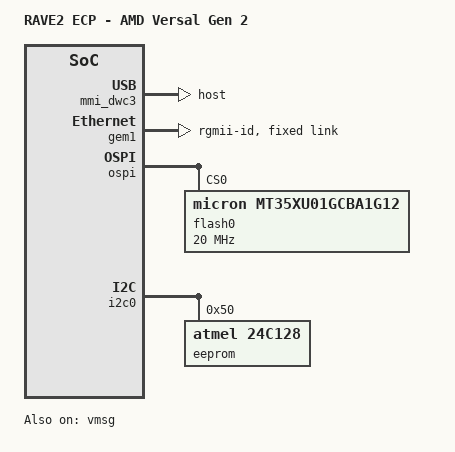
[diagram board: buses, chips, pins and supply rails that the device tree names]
// Copyright © Advanced Micro Devices, Inc., or its affiliates. All rights reserved.
// Copyright (C) 2015-2024 Texas Instruments Incorporated - https://www.ti.com/
// Modifications Copyright(C) 2026 Advanced Micro Devices, Inc. All rights reserved.
// SPDX-FileCopyrightText: 2026 Advanced Micro Devices, Inc.
// SPDX-License-Identifier: MIT AND BSD-2-Clause AND GPL-2.0-only
// Contributors: LT
// Maintainer: LT
// DP83867 constants copied from Linux include/dt-bindings/net/ti-dp83867.h
// (GPL-2.0-only OR MIT); MIT selected. GPIO_ACTIVE_LOW copied from
// include/dt-bindings/gpio/gpio.h (GPL-2.0 OR BSD-2-Clause); BSD-2-Clause selected.
#define DP83867_RGMIIDCTL_250_PS        0x0
#define DP83867_RGMIIDCTL_500_PS        0x1
#define DP83867_RGMIIDCTL_750_PS        0x2
#define DP83867_RGMIIDCTL_1_NS          0x3
#define DP83867_RGMIIDCTL_1_25_NS       0x4
#define DP83867_RGMIIDCTL_1_50_NS       0x5
#define DP83867_RGMIIDCTL_1_75_NS       0x6
#define DP83867_RGMIIDCTL_2_00_NS       0x7
#define DP83867_RGMIIDCTL_2_25_NS       0x8
#define DP83867_RGMIIDCTL_2_50_NS       0x9
#define DP83867_RGMIIDCTL_2_75_NS       0xa
#define DP83867_RGMIIDCTL_3_00_NS       0xb
#define DP83867_RGMIIDCTL_3_25_NS       0xc
#define DP83867_RGMIIDCTL_3_50_NS       0xd
#define DP83867_RGMIIDCTL_3_75_NS       0xe
#define DP83867_RGMIIDCTL_4_00_NS       0xf

#define   DP83867_PHYCR_FIFO_DEPTH_4_B_NIB  0x01
#define   GPIO_ACTIVE_LOW 1



/ {
	model = "RAVE2 ECP - AMD Versal Gen 2";
	compatible = "amd,versal2";
	chosen {
		stdout-path = "serial0:115200n8";
		bootargs = "earlycon=pl011,mmio32,0xf1920000 console=ttyAMA0,115200";
		xen_bootargs = "console=dtuart dtuart=serial0 dom0_mem=1000M dom0_max_vcpus=1 bootscrub=0 vwfi=native";
		dom0_bootargs = "console=hvc0 earlycon=xen earlyprintk=xen clk_ignore_unused";
	};

	reserved-memory {
		#address-cells = <0x2>;
		#size-cells = <0x2>;
		ranges;

		/delete-node/ cma_reserved@800000000;
		// Used to reserve memory for VCU
		shared_dma_reserved: shared_dma_mem_region {
			compatible = "shared-dma-pool";
			reg = <0x8 0x0 0x1 0x40000000>;
			linux,cma-default;
			reusable;
		};

		//npu_dma_reserved: npup_dma_mem_region {
		//	compatible = "shared-dma-pool";
		//	size = <0x0 0x60000000>;
		//	alloc-ranges = <0x500 0x0 0x0 0x80000000>;
		//	no-map;
		//};

		/* ISP mem reservations - 320MB */
		rpu6_fw: rproc6@0c000000 {
			no-map;
			reg = <0x00 0xc000000 0x00 0x3800000>;
		};
		rproc_D_0_6_calib_load: rpu6_calib_load {
			no-map;
			reg = <0x0  0xF800000 0x0 0x28000>;
		};
		rproc_D_0_6_hal_mem_priv: rpu6_hal_mem_priv {
			no-map;
			reg = <0x0 0xF828000 0x0 0x01001000>;
		};

		rpu7_fw: rproc7@1082A000 {
			no-map;
			reg = <0x00 0x1082A000 0x00 0x3800000>;
		};
		rproc_D_1_7_calib_load: rpu7_calib_load {
			no-map;
			reg = <0x0 0x1402A000 0x0 0x28000>;
		};
		rproc_D_1_7_hal_mem_priv: rpu7_hal_mem_priv {
			no-map;
			reg = <0x0 0x14052000 0x0 0x01001000>;
		};

		rpu8_fw: rproc8@15054000 {
			no-map;
			reg = <0x00 0x15054000 0x00 0x3800000>;
		};
		rproc_E_0_8_calib_load: rpu8_calib_load {
			no-map;
			reg = <0x0 0x18854000 0x0 0x28000>;
		};
		rproc_E_0_8_hal_mem_priv: rpu8_hal_mem_priv {
			no-map;
			reg = <0x0 0x1887C000 0x0 0x01001000>;
		};

		isp_mbox_buffer: isp_mbox_buffer@1E0A8000 {
			no-map;
			reg = <0x00 0x1E0A8000 0x00 0x400000>;
		};
		rpu_shared_mem: rpu_shared_mem@1E4A8000 {
			no-map;
			reg = <0x0 0x1E4A8000 0x0 0x40000>;
		};
		isp_vring: vring@1fff7000 {
			no-map;
			reg = <0x00 0x1fff7000 0x00 0x8000>;
		};

		tcm_rpu6: rpu6_tcm {
			no-map;
			reg = <0x00 0xebb80000 0x00 0x30000>;
		};
		tcm_rpu7: rpu7_tcm {
			no-map;
			reg = <0x00 0xebbc0000 0x00 0x30000>;
		};
		tcm_rpu8: rpu8_tcm {
			no-map;
			reg = <0x00 0xebc00000 0x00 0x30000>;
		};


	};

	/* OpenAMP: Linux loads the Zephyr firmware onto R52_2 (Cluster B core 0, TCM 0xeba80000) */
	remoteproc@eba80000 {
		compatible = "xlnx,versal-net-r52fss";
		#address-cells = <0x2>;
		#size-cells = <0x2>;
		xlnx,cluster-mode = <0x0>;
		ranges = <0x0 0x0 0x0 0xeba80000 0x0 0x10000 0x0 0x10000 0x0 0xeba90000 0x0 0x8000 0x0 0x18000 0x0 0xebaa0000 0x0 0x8000>;

		r52f@0 {
			compatible = "xlnx,versal2-r52f";
			/* PM_DEV_RPU_B_0, PM_DEV_TCM_B_0A/0B/0C */
			power-domains = <&versal2_firmware 0x181100c1>,
				<&versal2_firmware 0x183180d1>,
				<&versal2_firmware 0x183180d2>,
				<&versal2_firmware 0x183180d3>;
			reg = <0x0 0x0 0x0 0x10000 0x0 0x10000 0x0 0x8000 0x0 0x18000 0x0 0x8000>;
			reg-names = "r52_0b_atcm_global@eba80000", "r52_0b_btcm_global@eba90000", "r52_0b_ctcm_global@ebaa0000";
			/* rsctbl must be first: the driver reads the resource-table pointer from entry 0 */
			memory-region = <&rsctbl>, <&vdev0buffer>, <&vdev0vring0>, <&vdev0vring1>, <&ddrboot>;
			mboxes = <&ipi_2_nobuf_to_ipi_1_nobuf 0x0>, <&ipi_2_nobuf_to_ipi_1_nobuf 0x1>;
			mbox-names = "tx", "rx";
		};
	};

	/* Add remoteproc nodes required for loading isp firmware */
	remoteproc@ebb80000 {
		compatible = "xlnx,versal-net-r52fss";
		#address-cells = <0x02>;
		#size-cells = <0x02>;
		xlnx,cluster-mode = <0x00>;
		ranges = <0x00 0x00 0x00 0xebb80000 0x00 0x10000 0x00 0x10000 0x00 0xebb90000 0x00 0x8000 0x00 0x18000 0x00 0xebba0000 0x00 0x8000 0x01 0x00 0x00 0xebbc0000 0x00 0x10000 0x01 0x10000 0x00 0xebbd0000 0x00 0x8000 0x01 0x18000 0x00 0xebbe0000 0x00 0x8000>;

		rpu6_core: r52f@0 {
			compatible = "xlnx,versal2-r52f";
			power-domains = <&versal2_firmware 0x181100f3 &versal2_firmware 0x18318106 &versal2_firmware 0x18318107 &versal2_firmware 0x18318108>;
			reg = <0x00 0x00 0x00 0x10000 0x00 0x10000 0x00 0x8000 0x00 0x18000 0x00 0x8000>;
			reg-names = "r52_0a_atcm_global@eba00000\0r52_0a_btcm_global@eba10000\0r52_0a_ctcm_global@eba20000";
			memory-region = <&rpu6_fw>;
		};
		rpu7_core: r52f@1 {
			compatible = "xlnx,versal2-r52f";
			power-domains = <&versal2_firmware 0x181100f4 &versal2_firmware 0x18318109 &versal2_firmware 0x1831810a &versal2_firmware 0x1831810b>;
			reg = <0x01 0x00 0x00 0x10000 0x01 0x10000 0x00 0x8000 0x01 0x18000 0x00 0x8000>;
			reg-names = "r52_0a_atcm_global@eba00000\0r52_0a_btcm_global@eba10000\0r52_0a_ctcm_global@eba20000";
			memory-region = <&rpu7_fw>;
		};
	};

	remoteproc@ebc00000 {
		compatible = "xlnx,versal-net-r52fss";
		#address-cells = <0x02>;
		#size-cells = <0x02>;
		xlnx,cluster-mode = <0x00>;
		ranges = <0x00 0x00 0x00 0xebc00000 0x00 0x10000 0x00 0x10000 0x00 0xebc10000 0x00 0x8000 0x00 0x18000 0x00 0xebc20000 0x00 0x8000 0x01 0x00 0x00 0xebc40000 0x00 0x10000 0x01 0x10000 0x00 0xebc50000 0x00 0x8000 0x01 0x18000 0x00 0xebc60000 0x00 0x8000>;

		rpu8_core: r52f@0 {
			compatible = "xlnx,versal2-r52f";
			power-domains = <&versal2_firmware 0x181100f5 &versal2_firmware 0x1831810c &versal2_firmware 0x1831810d &versal2_firmware 0x1831810e>;
			reg = <0x00 0x00 0x00 0x10000 0x00 0x10000 0x00 0x8000 0x00 0x18000 0x00 0x8000>;
			reg-names = "r52_0a_atcm_global@eba00000\0r52_0a_btcm_global@eba10000\0r52_0a_ctcm_global@eba20000";
			memory-region = <&rpu8_fw>;
		};

		/*r52f@1 {
			compatible = "xlnx,versal2-r52f";
			power-domains = <&versal2_firmware 0x181100f6 &versal2_firmware 0x1831810f &versal2_firmware 0x18318110 &versal2_firmware 0x18318111>;
			reg = <0x01 0x00 0x00 0x10000 0x01 0x10000 0x00 0x8000 0x01 0x18000 0x00 0x8000>;
			reg-names = "r52_0a_atcm_global@eba00000\0r52_0a_btcm_global@eba10000\0r52_0a_ctcm_global@eba20000";
			memory-region = <&rpu9_fw>;
		};*/
	};
	aliases {
		spi0 = "/axi/spi@f1010000";
		nvmem0 = &eeprom;
	};

	/* Cortex-A78AE PMUv3. The SDT does not emit this node, without it the
	 * kernel registers no PMU and perf/gatord/Streamline get no CPU counters.
	 * PMU overflow IRQ is PPI 7 (INTID 23). */
	pmu {
		compatible = "arm,armv8-pmuv3";
		interrupts = <0x1 0x7 0x4>;
	};

};

&amba_pl {
	telluride_drm {
		compatible = "xlnx,aiarm";
	};
	ml_pre_process: ml-pre-process@b0050000 {
		compatible = "xlnx,ml-pre-process-v2";
		reg = <0x0 0xb0070000 0x0 0x00010000>,
		      <0x0 0xb0050000 0x0 0x00010000>,
		      <0x0 0xb0090000 0x0 0x00010000>,
		      <0x0 0xb0080000 0x0 0x00010000>;
		reg-names = "fvc_rd", "fvc_wr","svc_rd", "svc_wr";
		interrupts = <3 0>,<4 0>,<9 0>,<10 0>;
		interrupt-names = "fvc_rd","fvc_wr","svc_rd","svc_wr";
		interrupt-parent = <&axi_intc_0>;
	};
};

&gpio0 {
	/* PLM owns PS MIO3 for PCIe PERST recovery. */
	status = "disabled";
};

/* canfd_1/canfd_3 are owned by RPU_4 (libmetal/CANFD domain), not Linux. */
&can1 {
        status = "disabled";
};

&can3 {
        status = "disabled";
};

/* serial1 is the shared RPU debug console: used by both RPU_2_Zephyr
 * (OpenAMP) and RPU_4_BM (libmetal/CANFD, baremetal) -- libmetal/RPU_4 is
 * tested first, so this UART is exercised there before RPU_2. */
&serial1 {
        status = "disabled";
};

/* rpmsg vdev needs a shared-dma-pool, else remoteproc start fails with -EINVAL */
&vdev0buffer {
	compatible = "shared-dma-pool";
};

&mmi_dwc3 {
        dr_mode = "host";
        maximum-speed = "super-speed-plus";
        dma-coherent;
        snps,dis_u2_susphy_quirk;
        snps,dis_u3_susphy_quirk;
        snps,usb3_lpm_capable;
};


&gem1 { /* PMC_MIO_48, LPD_MIO0-11/24/25 */
 /*       phy-handle = <&phy1>; */
        phy-mode = "rgmii-id";
 /* MDIO doesnt work from ospi - so fixed link for now */
 /*       mdio: mdio { */
 /*               #address-cells = <1>; */
 /*               #size-cells = <0>; */
 /*               phy1: ethernet-phy@0 {  */
 /*                       #phy-cells = <1>; */
 /*                       compatible = "ethernet-phy-id2000.a231"; */
 /*                       reg = <0>; */
 /*                       ti,rx-internal-delay = <DP83867_RGMIIDCTL_3_00_NS>; */
 /*                       ti,tx-internal-delay = <DP83867_RGMIIDCTL_2_75_NS>; */
 /*                       ti,fifo-depth = <1>; */
 /*                       ti,dp83867-rxctrl-strap-quirk; */
 /*                       reset-assert-us = <100>; */
 /*                       reset-deassert-us = <280>; */
 /*                       reset-gpios = <&gpio0 25 GPIO_ACTIVE_LOW>; */
 /*               }; */
 /*        }; */
        fixed-link { 
                pause; 
                full-duplex; 
                speed = <1000>; 
        };
};

&mmi_10gbe { /* 10GbE direct to switch, no PHY */
        phy-mode = "10gbase-r";
        fixed-link {
                speed = <10000>;
                full-duplex;
        };
};


&ospi { /* PMC_MIO0-10, MIO12 */
        reset-names = "qspi";
        #address-cells = <1>;
        #size-cells = <0>;

	flash0: flash@0 {
		compatible = "micron,mt35xu01gcba1g12", "micron,mt35xu01g", "jedec,spi-nor";
		reg = <0>;
		spi-tx-bus-width = <8>;
		spi-rx-bus-width = <8>;
		spi-max-frequency = <20000000>;
		no-wp;
		spi-nor,octal-dtr-enable;
		boot,primary;
	};
};

&i2c0 {
        eeprom: eeprom@50 {
                compatible = "atmel,24c128";
                bootph-all;
                reg = <0x50>;
        };
};

/*
TTC timer nodes (timer@f1ea0000 to timer@f1ed0000) in the PS device tree causing conflict with
the RPU firmware execution during Linux boot.So disabling them to ensures successful RPU log prints
*/
&ttc4 {
	status = "disabled";
};

&ttc5 {
	status = "disabled";
};

&ttc6 {
	status = "disabled";
};

&ttc7 {
	status = "disabled";
};

&vcap_hier_mipi_0_mipi_csi2_rx_subsyst_0 {
	status = "disabled";
};
&vcap_hier_mipi_1_mipi_csi2_rx_subsyst_0 {
	status = "disabled";
};
&vcap_hier_mipi_2_mipi_csi2_rx_subsyst_0 {
	status = "disabled";
};

// ISP support for rproc
&visp_mbox_rpu_6  {
	memory-region = <&isp_mbox_buffer>;
	rproc = <&rpu6_core>;
};

&visp_mbox_rpu_7  {
	memory-region = <&isp_mbox_buffer>;
	rproc = <&rpu7_core>;
};

&visp_mbox_rpu_8  {
	memory-region = <&isp_mbox_buffer>;
	rproc = <&rpu8_core>;
};

&visp_ss_00  {
	memory-region = <&rproc_D_0_6_calib_load>;
	xlnx,name = "visp_ss_00";
	xlnx,rpu = <0x6>;
};

&visp_ss_12  {
	memory-region = <&rproc_D_1_7_calib_load>;
	xlnx,name = "visp_ss_12";
	xlnx,rpu = <0x7>;
};

&visp_ss_24  {
	memory-region = <&rproc_E_0_8_calib_load>;
	xlnx,name = "visp_ss_24";
	xlnx,rpu = <0x8>;
};

// ================================================================
// VCU -- fix interrupts (something funky with SDT mapping)
// ================================================================
&encoder {
	interrupts = <0x8 0x2 0x4>;
};
&decoder {
	interrupts = <0x7 0x2 0x4>;
};

// AI Engine aperture: fix power-domains phandle (SDT generates wrong reference)
// and override interrupt mapping
//&aie_aperture_0 {
//	interrupts = <0x00 0xce 0x04 0x00 0xcf 0x04 0x00 0xd0 0x04>;
//};

/ {
	axi {
		vmsg: vmsg@100000000000 {
			compatible = "xlnx,virtio-msg-rave2-versal";
			status = "okay";

			/* Keep host-window first for the mmap ABI. */
			/* MDB5 resources require pcie@ed931000 to remain disabled. */
			reg = <0x1000 0x00000000 0x10 0x00000000>,	/* Host window, 64 GiB */
			      <0x0800 0x00070000 0x0 0x00001000>,	/* virtio-msg cfg BRAM */
			      <0x0000 0xed800000 0x0 0x00001000>,	/* Outgoing MSI-X */
			      <0x0800 0x00050000 0x0 0x00001000>,	/* Incoming gen_irq */
			      <0x0000 0xed860000 0x0 0x00002000>,	/* Outbound iATU */
			      <0x0000 0xed828000 0x0 0x00004000>,	/* MDB5 HDMA */
			      <0x0000 0xed931000 0x0 0x00001000>;	/* MDB5 IRQ aggregator */
			reg-names = "host-window", "cfg", "doorbell", "irq-ack",
				    "atu", "hdma", "hdma-irq";

			/* Incoming doorbell and MDB5 completion, both level-high. */
			interrupts = <0 148 4>, <0 165 4>;
			interrupt-names = "doorbell", "hdma";

			/* Channel 7: write to x86, read from x86. */
			/* PF0 EFI must release Write 7 before runtime DMA. */
			xlnx,mdb5-write-channels = <7>;
			xlnx,mdb5-read-channels = <7>;

			/* Outbound window to x86 DMA addresses starting at 0. */
			xlnx,atu-region = <0>;
			xlnx,atu-target = <0x0 0x0>;
		};
	};
};
